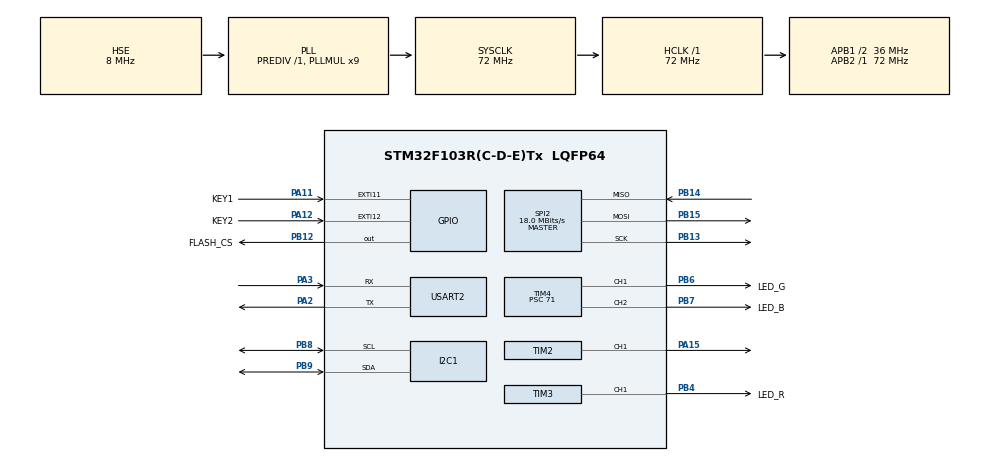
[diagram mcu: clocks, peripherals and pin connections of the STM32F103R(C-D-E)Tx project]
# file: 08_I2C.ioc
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Mcu.Family=STM32F1
Mcu.Name=STM32F103R(C-D-E)Tx
Mcu.Package=LQFP64
NVIC.PriorityGroup=NVIC_PRIORITYGROUP_4
NVIC.USART2_IRQn=true\:0\:0\:false\:false\:true\:true\:true\:true
PA11.GPIO_Label=KEY1
PA11.GPIO_ModeDefaultEXTI=GPIO_MODE_IT_RISING_FALLING
PA11.GPIO_PuPd=GPIO_PULLUP
PA11.Signal=GPXTI11
PA12.GPIO_Label=KEY2
PA12.GPIO_ModeDefaultEXTI=GPIO_MODE_IT_RISING_FALLING
PA12.GPIO_PuPd=GPIO_PULLUP
PA12.Signal=GPXTI12
PA13.Mode=Serial_Wire
PA13.Signal=SYS_JTMS-SWDIO
PA14.Mode=Serial_Wire
PA14.Signal=SYS_JTCK-SWCLK
PA15.GPIO_Speed=GPIO_SPEED_FREQ_HIGH
PA15.Signal=S_TIM2_CH1_ETR
PA2.Mode=Asynchronous
PA2.Signal=USART2_TX
PA3.Mode=Asynchronous
PA3.Signal=USART2_RX
PB12.GPIO_Label=FLASH_CS
PB12.GPIO_PuPd=GPIO_PULLUP
PB12.GPIO_Speed=GPIO_SPEED_FREQ_HIGH
PB12.PinState=GPIO_PIN_SET
PB12.Signal=GPIO_Output
PB13.Mode=Full_Duplex_Master
PB13.Signal=SPI2_SCK
PB14.Mode=Full_Duplex_Master
PB14.Signal=SPI2_MISO
PB15.Mode=Full_Duplex_Master
PB15.Signal=SPI2_MOSI
PB4.GPIO_Label=LED_R
PB4.GPIO_Speed=GPIO_SPEED_FREQ_HIGH
PB4.Signal=S_TIM3_CH1
PB6.GPIO_Label=LED_G
PB6.GPIO_Speed=GPIO_SPEED_FREQ_HIGH
PB6.Signal=S_TIM4_CH1
PB7.GPIO_Label=LED_B
PB7.GPIO_Speed=GPIO_SPEED_FREQ_HIGH
PB7.Signal=S_TIM4_CH2
PB8.Mode=I2C
PB8.Signal=I2C1_SCL
PB9.Mode=I2C
PB9.Signal=I2C1_SDA
PD0-OSC_IN.Mode=HSE-External-Oscillator
PD0-OSC_IN.Signal=RCC_OSC_IN
PD1-OSC_OUT.Mode=HSE-External-Oscillator
PD1-OSC_OUT.Signal=RCC_OSC_OUT
ProjectManager.HeapSize=0x200
ProjectManager.StackSize=0x400
ProjectManager.TargetToolchain=MDK-ARM V5.32
RCC.AHBFreq_Value=72000000
RCC.APB1CLKDivider=RCC_HCLK_DIV2
RCC.APB1Freq_Value=36000000
RCC.APB1TimFreq_Value=72000000
RCC.APB2Freq_Value=72000000
RCC.APB2TimFreq_Value=72000000
RCC.HCLKFreq_Value=72000000
RCC.PLLMUL=RCC_PLL_MUL9
RCC.PLLSourceVirtual=RCC_PLLSOURCE_HSE
RCC.SYSCLKFreq_VALUE=72000000
RCC.SYSCLKSource=RCC_SYSCLKSOURCE_PLLCLK
RCC.USBFreq_Value=72000000
SH.S_TIM2_CH1_ETR.0=TIM2_CH1,PWM Generation1 CH1
SH.S_TIM3_CH1.0=TIM3_CH1,PWM Generation1 CH1
SH.S_TIM4_CH1.0=TIM4_CH1,PWM Generation1 CH1
SH.S_TIM4_CH2.0=TIM4_CH2,PWM Generation2 CH2
SPI2.CLKPhase=SPI_PHASE_2EDGE
SPI2.CLKPolarity=SPI_POLARITY_HIGH
SPI2.CalculateBaudRate=18.0 MBits/s
SPI2.Direction=SPI_DIRECTION_2LINES
SPI2.Mode=SPI_MODE_MASTER
SPI2.VirtualType=VM_MASTER
TIM1.AutoReloadPreload=TIM_AUTORELOAD_PRELOAD_ENABLE
TIM1.Period=9999
TIM1.Prescaler=71
TIM2.Channel-PWM\ Generation1\ CH1=TIM_CHANNEL_1
TIM2.OCPolarity_1=TIM_OCPOLARITY_LOW
TIM2.Period=99
TIM2.Prescaler=71
TIM3.AutoReloadPreload=TIM_AUTORELOAD_PRELOAD_ENABLE
TIM3.Channel-PWM\ Generation1\ CH1=TIM_CHANNEL_1
TIM3.OCPolarity_1=TIM_OCPOLARITY_LOW
TIM3.Period=4999
TIM3.Prescaler=71
TIM4.AutoReloadPreload=TIM_AUTORELOAD_PRELOAD_ENABLE
TIM4.Channel-PWM\ Generation1\ CH1=TIM_CHANNEL_1
TIM4.Channel-PWM\ Generation2\ CH2=TIM_CHANNEL_2
TIM4.OCPolarity_1=TIM_OCPOLARITY_LOW
TIM4.OCPolarity_2=TIM_OCPOLARITY_LOW
TIM4.Period=4999
TIM4.Prescaler=71
USART2.VirtualMode=VM_ASYNC
VP_TIM1_VS_ClockSourceINT.Mode=Internal
VP_TIM2_VS_ClockSourceINT.Mode=Internal
VP_TIM3_VS_ClockSourceINT.Mode=Internal
VP_TIM4_VS_ClockSourceINT.Mode=Internal
board=custom

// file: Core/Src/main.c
/* USER CODE BEGIN Header */
/**
  ******************************************************************************
  * @file           : main.c
  * @brief          : Main program body
  ******************************************************************************
  * @attention
  *
  * Copyright (c) 2025 STMicroelectronics.
  * All rights reserved.
  *
  * This software is licensed under terms that can be found in the LICENSE file
  * in the root directory of this software component.
  * If no LICENSE file comes with this software, it is provided AS-IS.
  *
  ******************************************************************************
  */
/* USER CODE END Header */
#include "main.h"
#include "i2c.h"
#include "spi.h"
#include "tim.h"
#include "usart.h"
#include "gpio.h"

/* USER CODE BEGIN PV */
uint8_t AHT20_MEA_CMD[] = {0xAC,0x33,0x00};
uint8_t AHT20ReadBuffer[7] = {0};
uint8_t AHTStatus = 0;
uint32_t rawHumidityData = 0;
uint32_t rawTemperatureData = 0;
float temperature = 0;
float humidity = 0;

/* USER CODE END PV */

void SystemClock_Config(void);

int main(void)
{

  /* MCU Configuration--------------------------------------------------------*/

  /* Reset of all peripherals, Initializes the Flash interface and the Systick. */
  HAL_Init();

  /* Configure the system clock */
  SystemClock_Config();

  /* Initialize all configured peripherals */
  MX_GPIO_Init();
  MX_TIM1_Init();
  MX_TIM3_Init();
  MX_TIM4_Init();
  MX_TIM2_Init();
  MX_USART2_UART_Init();
  MX_SPI2_Init();
  MX_I2C1_Init();
  /* USER CODE BEGIN 2 */
  HAL_Delay(500);
  AHTStatus = HAL_I2C_IsDeviceReady(&hi2c1,0x70,0xff,0xffff);
  /* USER CODE END 2 */

  /* Infinite loop */
  /* USER CODE BEGIN WHILE */
  while (1)
  {
    HAL_I2C_Master_Transmit(&hi2c1,0x70,AHT20_MEA_CMD,sizeof(AHT20_MEA_CMD),0xffff);
    HAL_Delay(100);
    HAL_I2C_Master_Receive(&hi2c1,0x70,AHT20ReadBuffer,sizeof(AHT20ReadBuffer),0xffff);
    rawHumidityData = AHT20ReadBuffer[1];
    rawHumidityData = (rawHumidityData<<8) | AHT20ReadBuffer[2];
    rawHumidityData = (rawHumidityData << 4) | ((AHT20ReadBuffer[3]>>4) & 0x0f);
    rawTemperatureData = AHT20ReadBuffer[3]&0x0f;
    rawTemperatureData = (rawTemperatureData << 8) | AHT20ReadBuffer[4];
    rawTemperatureData = (rawTemperatureData << 8) | AHT20ReadBuffer[5];
    temperature = (((float)rawTemperatureData * 200.0) / ((float)(((uint32_t)0x00000001)<<20))) - 50.0;
    humidity = (((float)rawHumidityData * 100.0) / ((float)(((uint32_t)0x00000001)<<20)));
    HAL_Delay(1000);
    /* USER CODE END WHILE */

  }
}

void SystemClock_Config(void)
{
  RCC_OscInitTypeDef RCC_OscInitStruct = {0};
  RCC_ClkInitTypeDef RCC_ClkInitStruct = {0};

  /** Initializes the RCC Oscillators according to the specified parameters
  * in the RCC_OscInitTypeDef structure.
  */
  RCC_OscInitStruct.OscillatorType = RCC_OSCILLATORTYPE_HSE;
  RCC_OscInitStruct.HSEState = RCC_HSE_ON;
  RCC_OscInitStruct.HSEPredivValue = RCC_HSE_PREDIV_DIV1;
  RCC_OscInitStruct.HSIState = RCC_HSI_ON;
  RCC_OscInitStruct.PLL.PLLState = RCC_PLL_ON;
  RCC_OscInitStruct.PLL.PLLSource = RCC_PLLSOURCE_HSE;
  RCC_OscInitStruct.PLL.PLLMUL = RCC_PLL_MUL9;
  if (HAL_RCC_OscConfig(&RCC_OscInitStruct) != HAL_OK)
  {
    Error_Handler();
  }

  /** Initializes the CPU, AHB and APB buses clocks
  */
  RCC_ClkInitStruct.ClockType = RCC_CLOCKTYPE_HCLK|RCC_CLOCKTYPE_SYSCLK
                              |RCC_CLOCKTYPE_PCLK1|RCC_CLOCKTYPE_PCLK2;
  RCC_ClkInitStruct.SYSCLKSource = RCC_SYSCLKSOURCE_PLLCLK;
  RCC_ClkInitStruct.AHBCLKDivider = RCC_SYSCLK_DIV1;
  RCC_ClkInitStruct.APB1CLKDivider = RCC_HCLK_DIV2;
  RCC_ClkInitStruct.APB2CLKDivider = RCC_HCLK_DIV1;

  if (HAL_RCC_ClockConfig(&RCC_ClkInitStruct, FLASH_LATENCY_2) != HAL_OK)
  {
    Error_Handler();
  }
}

void Error_Handler(void)
{
  __disable_irq();
  while (1)
  {
  }
}
